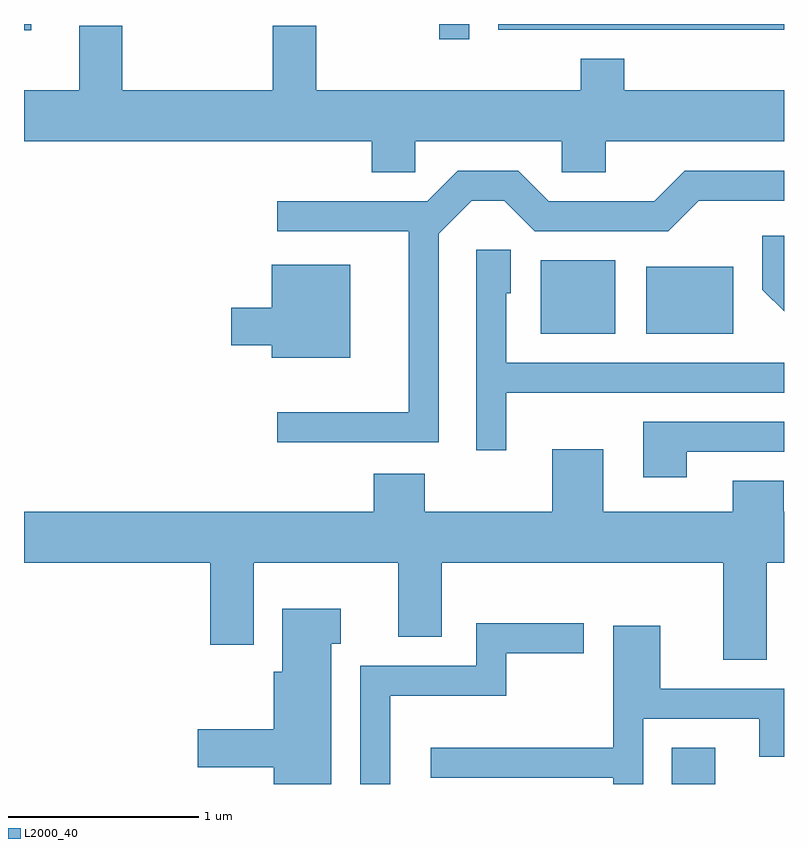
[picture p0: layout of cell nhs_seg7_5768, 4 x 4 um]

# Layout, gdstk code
import gdstk
lib = gdstk.Library(unit=1e-6, precision=1e-09)
def R(c, l, rs):  # rectangles x0, y0, x1, y1
    for r in rs: c.add(gdstk.rectangle(r[:2], r[2:], *l))
def P(c, l, *ps):  # polygons
    for p in ps: c.add(gdstk.Polygon(p, *l))
L2000_40 = (2000, 40)

nhs_seg7_5768 = lib.new_cell('nhs_seg7_5768')
R(nhs_seg7_5768, L2000_40, [(365.021,1724.252,365.249,1724.444), (364.331,1726.621,364.724,1727.009), (364.886,1726.621,365.344,1726.974), (363.796,1728.173,363.954,1728.252), (361.611,1728.218,361.649,1728.252), (364.106,1728.221,365.611,1728.252)])
P(nhs_seg7_5768, L2000_40, [(363.669,1727.636),(364.441,1727.636),(364.441,1727.471),(364.674,1727.471),(364.674,1727.636),(365.611,1727.636),(365.611,1727.904),(364.769,1727.904),(364.769,1728.069),(364.541,1728.069),(364.541,1727.904),(363.149,1727.904),(363.149,1728.244),(362.921,1728.244),(362.921,1727.904),(362.129,1727.904),(362.129,1728.244),(361.901,1728.244),(361.901,1727.904),(361.611,1727.904),(361.611,1727.636),(363.441,1727.636),(363.441,1727.471),(363.669,1727.471)],
  [(363.794,1727.149),(363.967,1727.321),(364.139,1727.321),(364.299,1727.161),(365.002,1727.161),(365.162,1727.321),(365.611,1727.321),(365.611,1727.479),(365.089,1727.479),(364.929,1727.319),(364.372,1727.319),(364.212,1727.479),(363.894,1727.479),(363.734,1727.319),(362.943,1727.319),(362.943,1727.161),(363.636,1727.161),(363.636,1726.209),(362.943,1726.209),(362.943,1726.051),(363.794,1726.051)],
  [(365.611,1727.138),(365.496,1727.138),(365.496,1726.854),(365.611,1726.739)],
  [(364.149,1726.311),(365.611,1726.311),(365.611,1726.469),(364.149,1726.469),(364.149,1726.836),(364.174,1726.836),(364.174,1727.064),(363.991,1727.064),(363.991,1726.008),(364.149,1726.008)],
  [(363.329,1726.984),(362.916,1726.984),(362.916,1726.759),(362.701,1726.759),(362.701,1726.561),(362.916,1726.561),(362.916,1726.496),(363.329,1726.496)],
  [(365.099,1726.001),(365.611,1726.001),(365.611,1726.159),(364.871,1726.159),(364.871,1725.866),(365.099,1725.866)],
  [(365.519,1725.416),(365.611,1725.416),(365.611,1725.684),(365.609,1725.684),(365.609,1725.849),(365.341,1725.849),(365.341,1725.684),(364.659,1725.684),(364.659,1726.014),(364.391,1726.014),(364.391,1725.684),(363.719,1725.684),(363.719,1725.884),(363.451,1725.884),(363.451,1725.684),(361.611,1725.684),(361.611,1725.416),(362.591,1725.416),(362.591,1724.986),(362.819,1724.986),(362.819,1725.416),(363.581,1725.416),(363.581,1725.026),(363.809,1725.026),(363.809,1725.416),(365.291,1725.416),(365.291,1724.906),(365.519,1724.906)],
  [(363.229,1724.991),(363.279,1724.991),(363.279,1725.174),(362.971,1725.174),(362.971,1724.844),(362.926,1724.844),(362.926,1724.539),(362.526,1724.539),(362.526,1724.341),(362.926,1724.341),(362.926,1724.252),(363.229,1724.252)],
  [(363.539,1724.716),(364.149,1724.716),(364.149,1724.941),(364.558,1724.941),(364.558,1725.099),(363.991,1725.099),(363.991,1724.874),(363.381,1724.874),(363.381,1724.252),(363.539,1724.252)],
  [(364.869,1724.596),(365.481,1724.596),(365.481,1724.396),(365.611,1724.396),(365.611,1724.754),(364.959,1724.754),(364.959,1725.084),(364.711,1725.084),(364.711,1724.444),(363.753,1724.444),(363.753,1724.286),(364.711,1724.286),(364.711,1724.252),(364.869,1724.252)])

lib.write_gds('nhs_seg7_5768.gds')
